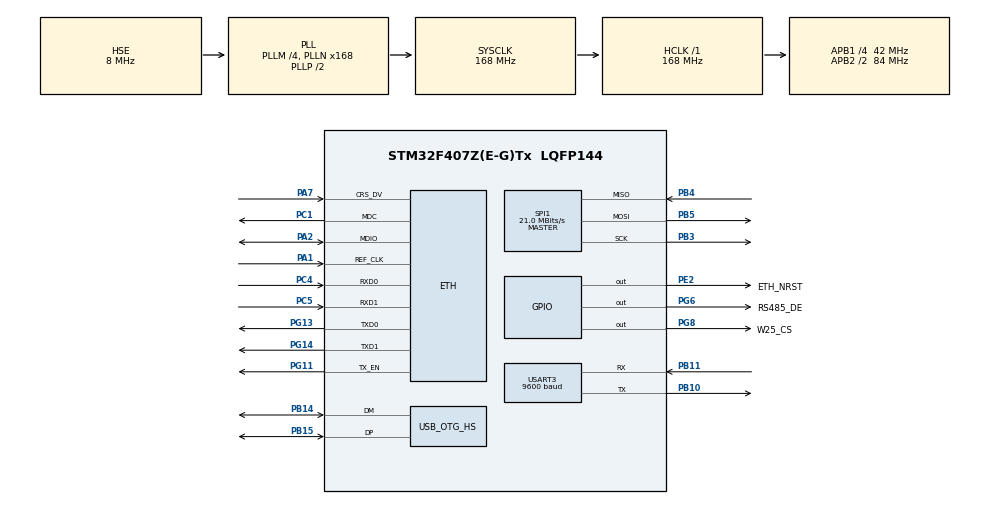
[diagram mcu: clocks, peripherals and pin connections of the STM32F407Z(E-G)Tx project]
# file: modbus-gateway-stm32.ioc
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Dma.Request0=USART3_TX
Dma.Request1=USART3_RX
Dma.Request2=SPI1_TX
Dma.Request3=SPI1_RX
Dma.SPI1_RX.3.Direction=DMA_PERIPH_TO_MEMORY
Dma.SPI1_RX.3.FIFOMode=DMA_FIFOMODE_DISABLE
Dma.SPI1_RX.3.Instance=DMA2_Stream0
Dma.SPI1_RX.3.MemDataAlignment=DMA_MDATAALIGN_BYTE
Dma.SPI1_RX.3.MemInc=DMA_MINC_ENABLE
Dma.SPI1_RX.3.Mode=DMA_NORMAL
Dma.SPI1_RX.3.PeriphDataAlignment=DMA_PDATAALIGN_BYTE
Dma.SPI1_RX.3.PeriphInc=DMA_PINC_DISABLE
Dma.SPI1_RX.3.Priority=DMA_PRIORITY_LOW
Dma.SPI1_TX.2.Direction=DMA_MEMORY_TO_PERIPH
Dma.SPI1_TX.2.FIFOMode=DMA_FIFOMODE_DISABLE
Dma.SPI1_TX.2.Instance=DMA2_Stream3
Dma.SPI1_TX.2.MemDataAlignment=DMA_MDATAALIGN_BYTE
Dma.SPI1_TX.2.MemInc=DMA_MINC_ENABLE
Dma.SPI1_TX.2.Mode=DMA_NORMAL
Dma.SPI1_TX.2.PeriphDataAlignment=DMA_PDATAALIGN_BYTE
Dma.SPI1_TX.2.PeriphInc=DMA_PINC_DISABLE
Dma.SPI1_TX.2.Priority=DMA_PRIORITY_LOW
Dma.USART3_RX.1.Direction=DMA_PERIPH_TO_MEMORY
Dma.USART3_RX.1.FIFOMode=DMA_FIFOMODE_DISABLE
Dma.USART3_RX.1.Instance=DMA1_Stream1
Dma.USART3_RX.1.MemDataAlignment=DMA_MDATAALIGN_BYTE
Dma.USART3_RX.1.MemInc=DMA_MINC_ENABLE
Dma.USART3_RX.1.Mode=DMA_NORMAL
Dma.USART3_RX.1.PeriphDataAlignment=DMA_PDATAALIGN_BYTE
Dma.USART3_RX.1.PeriphInc=DMA_PINC_DISABLE
Dma.USART3_RX.1.Priority=DMA_PRIORITY_LOW
Dma.USART3_TX.0.Direction=DMA_MEMORY_TO_PERIPH
Dma.USART3_TX.0.FIFOMode=DMA_FIFOMODE_DISABLE
Dma.USART3_TX.0.Instance=DMA1_Stream3
Dma.USART3_TX.0.MemDataAlignment=DMA_MDATAALIGN_BYTE
Dma.USART3_TX.0.MemInc=DMA_MINC_ENABLE
Dma.USART3_TX.0.Mode=DMA_NORMAL
Dma.USART3_TX.0.PeriphDataAlignment=DMA_PDATAALIGN_BYTE
Dma.USART3_TX.0.PeriphInc=DMA_PINC_DISABLE
Dma.USART3_TX.0.Priority=DMA_PRIORITY_LOW
ETH.MACAddr=02\:80\:E1\:00\:00\:00
ETH.MediaInterface=HAL_ETH_RMII_MODE
ETH.RxMode=ETH_RXINTERRUPT_MODE
FREERTOS.Tasks01=defaultTask,24,1024,StartDefaultTask,Default,NULL,Static,defaultTaskBuffer,defaultTaskControlBlock
FREERTOS.configRECORD_STACK_HIGH_ADDRESS=1
IWDG.Prescaler=IWDG_PRESCALER_256
IWDG.Reload=2499
LWIP.BSP.number=1
LWIP.DHCP_DEBUG=LWIP_DBG_OFF
LWIP.ETH_RX_BUFFER_CNT=8
LWIP.GATEWAY_ADDRESS=192.168.005.001
LWIP.IP_ADDRESS=192.168.005.123
LWIP.LWIP_ALTCP=1
LWIP.LWIP_ALTCP_TLS=1
LWIP.LWIP_DBG_MIN_LEVEL=LWIP_DBG_LEVEL_ALL
LWIP.LWIP_DBG_TYPES_ON=LWIP_DBG_ON
LWIP.LWIP_DHCP=1
LWIP.LWIP_DISABLE_MEMP_SANITY_CHECKS=0
LWIP.LWIP_DISABLE_TCP_SANITY_CHECKS=0
LWIP.LWIP_DNS=1
LWIP.LWIP_IPV6=0
LWIP.LWIP_SMTP=0
LWIP.LWIP_SNTP=1
LWIP.LWIP_STATS=0
LWIP.LWIP_TCP_KEEPALIVE=1
LWIP.MEMP_NUM_NETCONN=8
LWIP.MEMP_NUM_PBUF=30
LWIP.MEMP_NUM_SYS_TIMEOUT=10
LWIP.MEMP_NUM_TCP_PCB=8
LWIP.MEMP_NUM_TCP_SEG=40
LWIP.MEMP_NUM_UDP_PCB=6
LWIP.MEM_DEBUG=LWIP_DBG_ON
LWIP.MEM_SIZE=1024*40
LWIP.NETMASK_ADDRESS=255.255.255.000
LWIP.PBUF_POOL_BUFSIZE=1524
LWIP.SNTP_CHECK_RESPONSE=2
LWIP.SNTP_MAX_SERVERS=2
LWIP.TCPIP_MBOX_SIZE=16
LWIP.TCPIP_THREAD_STACKSIZE=3840
LWIP.TCP_DEBUG=LWIP_DBG_ON
LWIP.TCP_LISTEN_BACKLOG=1
LWIP.TCP_MSS=1460
LWIP.TCP_SND_BUF=14600
LWIP.TCP_SND_QUEUELEN=40
LWIP.TCP_WND=7300
LWIP.Version=v2.1.2_Cube
LWIP0.BSP.STBoard=false
LWIP0.BSP.api=BSP_COMPONENT_DRIVER
LWIP0.BSP.component=LAN8742
LWIP0.BSP.instance=LAN8742
LWIP0.BSP.name=Driver_PHY
LWIP0.BSP.semaphore=S_LAN8742
LWIP0.BSP.solution=LAN8742
MBEDTLS.MBEDTLS_CIPHER_MODE_OFB=0
MBEDTLS.MBEDTLS_CIPHER_MODE_XTS=0
MBEDTLS.MBEDTLS_ECP_DP_CURVE448_ENABLED=0
MBEDTLS.MBEDTLS_HAVE_TIME_DATE=1
MBEDTLS.MBEDTLS_KEY_EXCHANGE_ECDHE_RSA_ENABLED=1
MBEDTLS.MBEDTLS_MPI_MAX_SIZE=512
MBEDTLS.MBEDTLS_PKCS11_C=0
MBEDTLS.MBEDTLS_PKCS1_V15=1
MBEDTLS.MBEDTLS_PLATFORM_GMTIME_R_ALT=1
MBEDTLS.MBEDTLS_PLATFORM_MEMORY=1
MBEDTLS.MBEDTLS_PLATFORM_TIME_ALT=1
MBEDTLS.MBEDTLS_RSA_ALT=0
MBEDTLS.MBEDTLS_RSA_C=1
MBEDTLS.MBEDTLS_SHA1_ALT=0
MBEDTLS.MBEDTLS_SHA1_C=0
MBEDTLS.MBEDTLS_SSL_CIPHERSUITES=MBEDTLS_TLS_ECDHE_RSA_WITH_AES_256_GCM_SHA384,MBEDTLS_TLS_ECDHE_RSA_WITH_AES_128_GCM_SHA256,MBEDTLS_TLS_ECDHE_ECDSA_WITH_AES_256_GCM_SHA384,MBEDTLS_TLS_ECDHE_ECDSA_WITH_AES_128_GCM_SHA256
MBEDTLS.MBEDTLS_SSL_IN_CONTENT_LEN=6144
MBEDTLS.MBEDTLS_SSL_IN_CONTENT_LEN_ENABLE=0
MBEDTLS.MBEDTLS_SSL_MAX_CONTENT_LEN_ENABLE=0
MBEDTLS.MBEDTLS_SSL_OUT_CONTENT_LEN=2048
MBEDTLS.MBEDTLS_SSL_OUT_CONTENT_LEN_ENABLE=0
MBEDTLS.MBEDTLS_SSL_SERVER_NAME_INDICATION=1
MBEDTLS.MBEDTLS_SSL_SRV_C=1
MBEDTLS.MBEDTLS_SSL_SRV_RESPECT_CLIENT_PREFERENCE=1
MBEDTLS.MBEDTLS_TLS_DEFAULT_ALLOW_SHA1_IN_CERTIFICATES=0
MBEDTLS.MBEDTLS_TLS_DEFAULT_ALLOW_SHA1_IN_KEY_EXCHANGE=0
MBEDTLS.MBEDTLS_X509_CHECK_EXTENDED_KEY_USAGE=1
MBEDTLS.MBEDTLS_X509_CHECK_KEY_USAGE=1
Mcu.Family=STM32F4
Mcu.Name=STM32F407Z(E-G)Tx
Mcu.Package=LQFP144
NVIC.DMA1_Stream1_IRQn=true\:5\:0\:false\:false\:true\:true\:false\:true\:true
NVIC.DMA1_Stream3_IRQn=true\:5\:0\:false\:false\:true\:true\:false\:true\:true
NVIC.DMA2_Stream0_IRQn=true\:5\:0\:false\:false\:true\:true\:false\:true\:true
NVIC.DMA2_Stream3_IRQn=true\:5\:0\:false\:false\:true\:true\:false\:true\:true
NVIC.ETH_IRQn=true\:5\:0\:false\:false\:true\:true\:false\:true\:true
NVIC.OTG_HS_IRQn=true\:5\:0\:false\:false\:true\:true\:false\:true\:true
NVIC.PriorityGroup=NVIC_PRIORITYGROUP_4
NVIC.SPI1_IRQn=true\:5\:0\:false\:false\:true\:true\:true\:true\:true
NVIC.TIM6_DAC_IRQn=true\:15\:0\:false\:false\:true\:false\:false\:true\:true
NVIC.TIM7_IRQn=true\:5\:0\:false\:false\:true\:true\:true\:true\:true
NVIC.TimeBase=TIM6_DAC_IRQn
NVIC.TimeBaseIP=TIM6
NVIC.USART3_IRQn=true\:5\:0\:false\:false\:true\:true\:true\:true\:true
PA1.Mode=RMII
PA1.Signal=ETH_REF_CLK
PA2.Mode=RMII
PA2.Signal=ETH_MDIO
PA7.Mode=RMII
PA7.Signal=ETH_CRS_DV
PB10.Mode=Asynchronous
PB10.Signal=USART3_TX
PB11.GPIO_PuPd=GPIO_PULLUP
PB11.Mode=Asynchronous
PB11.Signal=USART3_RX
PB14.Mode=Device_Only_FS
PB14.Signal=USB_OTG_HS_DM
PB15.Mode=Device_Only_FS
PB15.Signal=USB_OTG_HS_DP
PB3.Mode=Full_Duplex_Master
PB3.Signal=SPI1_SCK
PB4.Mode=Full_Duplex_Master
PB4.Signal=SPI1_MISO
PB5.Mode=Full_Duplex_Master
PB5.Signal=SPI1_MOSI
PC1.Mode=RMII
PC1.Signal=ETH_MDC
PC14-OSC32_IN.Mode=LSE-External-Oscillator
PC14-OSC32_IN.Signal=RCC_OSC32_IN
PC15-OSC32_OUT.Mode=LSE-External-Oscillator
PC15-OSC32_OUT.Signal=RCC_OSC32_OUT
PC4.Mode=RMII
PC4.Signal=ETH_RXD0
PC5.Mode=RMII
PC5.Signal=ETH_RXD1
PE2.GPIO_Label=ETH_NRST
PE2.GPIO_Speed=GPIO_SPEED_FREQ_VERY_HIGH
PE2.PinState=GPIO_PIN_RESET
PE2.Signal=GPIO_Output
PG11.Mode=RMII
PG11.Signal=ETH_TX_EN
PG13.Mode=RMII
PG13.Signal=ETH_TXD0
PG14.Mode=RMII
PG14.Signal=ETH_TXD1
PG6.GPIO_Label=RS485_DE
PG6.Signal=GPIO_Output
PG8.GPIO_Label=W25_CS
PG8.GPIO_Speed=GPIO_SPEED_FREQ_HIGH
PG8.PinState=GPIO_PIN_SET
PG8.Signal=GPIO_Output
PH0-OSC_IN.Mode=HSE-External-Oscillator
PH0-OSC_IN.Signal=RCC_OSC_IN
PH1-OSC_OUT.Mode=HSE-External-Oscillator
PH1-OSC_OUT.Signal=RCC_OSC_OUT
ProjectManager.HeapSize=0x200
ProjectManager.StackSize=0x400
ProjectManager.TargetToolchain=MDK-ARM V5.32
RCC.48MHZClocksFreq_Value=48000000
RCC.AHBFreq_Value=168000000
RCC.APB1CLKDivider=RCC_HCLK_DIV4
RCC.APB1Freq_Value=42000000
RCC.APB1TimFreq_Value=84000000
RCC.APB2CLKDivider=RCC_HCLK_DIV2
RCC.APB2Freq_Value=84000000
RCC.APB2TimFreq_Value=168000000
RCC.CortexFreq_Value=168000000
RCC.HCLKFreq_Value=168000000
RCC.HSE_VALUE=8000000
RCC.HSI_VALUE=16000000
RCC.PLLM=4
RCC.PLLN=168
RCC.PLLQ=7
RCC.RCC_RTC_Clock_Source=RCC_RTCCLKSOURCE_LSE
RCC.RCC_RTC_Clock_SourceVirtual=RCC_RTCCLKSOURCE_LSE
RCC.SYSCLKFreq_VALUE=168000000
RCC.SYSCLKSource=RCC_SYSCLKSOURCE_PLLCLK
RCC.VCOOutputFreq_Value=336000000
SPI1.BaudRatePrescaler=SPI_BAUDRATEPRESCALER_4
SPI1.CalculateBaudRate=21.0 MBits/s
SPI1.Direction=SPI_DIRECTION_2LINES
SPI1.Mode=SPI_MODE_MASTER
SPI1.VirtualType=VM_MASTER
TIM7.Period=4000 - 1
TIM7.Prescaler=84 - 1
USART3.BaudRate=9600
USART3.VirtualMode=VM_ASYNC
USB_DEVICE.CLASS_NAME_HS=CDC
USB_DEVICE.CONFIGURATION_STRING_CDC_HS=Management CDC Configuration
USB_DEVICE.INTERFACE_STRING_CDC_HS=Management CDC Interface
USB_DEVICE.MANUFACTURER_STRING-CDC_HS=Tianfang
USB_DEVICE.PRODUCT_STRING_CDC_HS=Modbus Gateway Management Port
USB_DEVICE.VirtualMode-CDC_HS=Cdc
USB_DEVICE.VirtualModeHS=Cdc_HS
USB_OTG_HS.VirtualMode-Device_Only_FS=Device_Only_FS
VP_FREERTOS_VS_CMSIS_V2.Mode=CMSIS_V2
VP_IWDG_VS_IWDG.Mode=IWDG_Activate
VP_LWIP_VS_Enabled.Mode=Enabled
VP_MBEDTLS_VS_MBEDTLS.Mode=Enabled
VP_RNG_VS_RNG.Mode=RNG_Activate
VP_RTC_VS_RTC_Activate.Mode=RTC_Enabled
VP_SYS_VS_tim6.Mode=TIM6
VP_TIM7_VS_ClockSourceINT.Mode=Enable_Timer
VP_TIM7_VS_OPM.Mode=OPM_bit
VP_USB_DEVICE_VS_USB_DEVICE_CDC_HS.Mode=CDC_HS
board=custom

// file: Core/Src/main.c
/* USER CODE BEGIN Header */
/**
  ******************************************************************************
  * @file           : main.c
  * @brief          : Main program body
  ******************************************************************************
  * @attention
  *
  * Copyright (c) 2026 STMicroelectronics.
  * All rights reserved.
  *
  * This software is licensed under terms that can be found in the LICENSE file
  * in the root directory of this software component.
  * If no LICENSE file comes with this software, it is provided AS-IS.
  *
  ******************************************************************************
  */
/* USER CODE END Header */
#include "main.h"
#include "cmsis_os.h"
#include "dma.h"
#include "iwdg.h"
#include "mbedtls.h"
#include "rng.h"
#include "rtc.h"
#include "spi.h"
#include "tim.h"
#include "usart.h"
#include "usb_device.h"
#include "gpio.h"

/* USER CODE BEGIN Includes */
#include "debug_log.h"
#include "SEGGER_SYSVIEW.h"
/* USER CODE END Includes */

void SystemClock_Config(void);
void MX_FREERTOS_Init(void);

int main(void)
{

  /* MCU Configuration--------------------------------------------------------*/

  /* Reset of all peripherals, Initializes the Flash interface and the Systick. */
  HAL_Init();

  /* Configure the system clock */
  SystemClock_Config();

  /* USER CODE BEGIN SysInit */
  debug_log_init();
  debug_log_printf("\r\n[boot] reset complete, RTT initialized\r\n");
  CoreDebug->DEMCR |= CoreDebug_DEMCR_TRCENA_Msk;
DWT->CYCCNT = 0U;
DWT->CTRL |= DWT_CTRL_CYCCNTENA_Msk;

  SEGGER_SYSVIEW_Conf();
  /* USER CODE END SysInit */

  /* Initialize all configured peripherals */
  MX_GPIO_Init();
  MX_DMA_Init();
  MX_USART3_UART_Init();
  MX_TIM7_Init();
  MX_RTC_Init();
  MX_RNG_Init();
  MX_SPI1_Init();
  MX_IWDG_Init();
  /* Call PreOsInit function */
  MX_MBEDTLS_Init();
  /* USER CODE BEGIN 2 */
  debug_log_printf("[boot] peripherals initialized\r\n");
  HAL_GPIO_WritePin(ETH_NRST_GPIO_Port, ETH_NRST_Pin, GPIO_PIN_RESET);
  HAL_Delay(100);
  HAL_GPIO_WritePin(ETH_NRST_GPIO_Port, ETH_NRST_Pin, GPIO_PIN_SET);
  HAL_Delay(100);
  /* USER CODE END 2 */

  /* Init scheduler */
  osKernelInitialize();  /* Call init function for freertos objects (in cmsis_os2.c) */
  MX_FREERTOS_Init();

  /* Start scheduler */
  osKernelStart();

  /* We should never get here as control is now taken by the scheduler */

  /* Infinite loop */
  while (1)
  {

  }
}

void SystemClock_Config(void)
{
  RCC_OscInitTypeDef RCC_OscInitStruct = {0};
  RCC_ClkInitTypeDef RCC_ClkInitStruct = {0};

  /** Configure the main internal regulator output voltage
  */
  __HAL_RCC_PWR_CLK_ENABLE();
  __HAL_PWR_VOLTAGESCALING_CONFIG(PWR_REGULATOR_VOLTAGE_SCALE1);

  /** Initializes the RCC Oscillators according to the specified parameters
  * in the RCC_OscInitTypeDef structure.
  */
  RCC_OscInitStruct.OscillatorType = RCC_OSCILLATORTYPE_LSI|RCC_OSCILLATORTYPE_HSE
                              |RCC_OSCILLATORTYPE_LSE;
  RCC_OscInitStruct.HSEState = RCC_HSE_ON;
  RCC_OscInitStruct.LSEState = RCC_LSE_ON;
  RCC_OscInitStruct.LSIState = RCC_LSI_ON;
  RCC_OscInitStruct.PLL.PLLState = RCC_PLL_ON;
  RCC_OscInitStruct.PLL.PLLSource = RCC_PLLSOURCE_HSE;
  RCC_OscInitStruct.PLL.PLLM = 4;
  RCC_OscInitStruct.PLL.PLLN = 168;
  RCC_OscInitStruct.PLL.PLLP = RCC_PLLP_DIV2;
  RCC_OscInitStruct.PLL.PLLQ = 7;
  if (HAL_RCC_OscConfig(&RCC_OscInitStruct) != HAL_OK)
  {
    Error_Handler();
  }

  /** Initializes the CPU, AHB and APB buses clocks
  */
  RCC_ClkInitStruct.ClockType = RCC_CLOCKTYPE_HCLK|RCC_CLOCKTYPE_SYSCLK
                              |RCC_CLOCKTYPE_PCLK1|RCC_CLOCKTYPE_PCLK2;
  RCC_ClkInitStruct.SYSCLKSource = RCC_SYSCLKSOURCE_PLLCLK;
  RCC_ClkInitStruct.AHBCLKDivider = RCC_SYSCLK_DIV1;
  RCC_ClkInitStruct.APB1CLKDivider = RCC_HCLK_DIV4;
  RCC_ClkInitStruct.APB2CLKDivider = RCC_HCLK_DIV2;

  if (HAL_RCC_ClockConfig(&RCC_ClkInitStruct, FLASH_LATENCY_5) != HAL_OK)
  {
    Error_Handler();
  }
}

void HAL_TIM_PeriodElapsedCallback(TIM_HandleTypeDef *htim)
{
  if (htim->Instance == TIM6)
  {
    HAL_IncTick();
  }
}

void Error_Handler(void)
{
  /* USER CODE BEGIN Error_Handler_Debug */
  /* User can add his own implementation to report the HAL error return state */
  debug_log_printf("[fatal] Error_Handler\r\n");
  __disable_irq();
  while (1)
  {
  }
  /* USER CODE END Error_Handler_Debug */
}

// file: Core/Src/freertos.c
/* USER CODE BEGIN Header */
/**
  ******************************************************************************
  * File Name          : freertos.c
  * Description        : Code for freertos applications
  ******************************************************************************
  * @attention
  *
  * Copyright (c) 2026 STMicroelectronics.
  * All rights reserved.
  *
  * This software is licensed under terms that can be found in the LICENSE file
  * in the root directory of this software component.
  * If no LICENSE file comes with this software, it is provided AS-IS.
  *
  ******************************************************************************
  */
/* USER CODE END Header */

#include "FreeRTOS.h"
#include "task.h"
#include "main.h"
#include "cmsis_os.h"

/* USER CODE BEGIN Includes */
#include <stdio.h>

#include "altcp_tls_mbedtls_mem.h"
#include "debug_log.h"
#include "configuration_service.h"
#include "external_flash.h"
#include "lwip/apps/lwiperf.h"
#include "lwip/dhcp.h"
#include "lwip/dns.h"
#include "lwip/ip_addr.h"
#include "lwip/netif.h"
#include "lwip/tcpip.h"
#include "lwip_random.h"
#include "mbedtls/entropy.h"
#include "mbedtls/entropy_poll.h"
#include "management_transport.h"
#include "modbus_gateway_app.h"
#include "mqtt_publisher.h"
#include "sntp_service.h"
#include "watchdog.h"
/* USER CODE END Includes */

typedef StaticTask_t osStaticThreadDef_t;

/* USER CODE BEGIN Variables */

static management_transport_result_t management_initialization_result = MANAGEMENT_TRANSPORT_NOT_INITIALIZED;
static volatile bool management_configuration_ready;

/* USER CODE END Variables */
/* Definitions for defaultTask */
osThreadId_t defaultTaskHandle;
uint32_t defaultTaskBuffer[ 1024 ];
osStaticThreadDef_t defaultTaskControlBlock;
const osThreadAttr_t defaultTask_attributes = {
  .name = "defaultTask",
  .cb_mem = &defaultTaskControlBlock,
  .cb_size = sizeof(defaultTaskControlBlock),
  .stack_mem = &defaultTaskBuffer[0],
  .stack_size = sizeof(defaultTaskBuffer),
  .priority = (osPriority_t) osPriorityNormal,
};

/* USER CODE BEGIN FunctionPrototypes */
void lwip_echo_server(uint16_t port);

/* USER CODE END FunctionPrototypes */

void StartDefaultTask(void *argument);

extern void MX_LWIP_Init(void);
extern void MX_USB_DEVICE_Init(void);
void MX_FREERTOS_Init(void); /* (MISRA C 2004 rule 8.1) */

void MX_FREERTOS_Init(void) {
  /* USER CODE BEGIN Init */

  watchdog_init();
  management_initialization_result = management_transport_init();

  /* USER CODE END Init */

  /* Create the thread(s) */
  /* creation of defaultTask */
  defaultTaskHandle = osThreadNew(StartDefaultTask, NULL, &defaultTask_attributes);

}

void StartDefaultTask(void *argument)
{
  /* init code for USB_DEVICE */
  MX_USB_DEVICE_Init();
  /* USER CODE BEGIN StartDefaultTask */

  external_flash_result_t flash_result = external_flash_init();
  if (flash_result == EXTERNAL_FLASH_RESULT_OK)
  {
    debug_log_printf("[boot] external flash ready\r\n");
  }
  else
  {
    debug_log_printf("[flash-test] FAIL: initialization, result=%d\r\n", (int)flash_result);
    debug_log_printf("[boot] external flash initialization failedp\r\n");
    while(1);
  }

  lwip_random_initialize();
  /* 先初始化lwip堆，才能校验configuration的证书 */
  MX_LWIP_Init();
  altcp_mbedtls_mem_init();

  configuration_service_result_t configuration_result = configuration_service_init();

  if (configuration_result == CONFIGURATION_SERVICE_OK)
  {
    management_configuration_ready = true;
    debug_log_printf("[boot] Configuration Service ready\r\n");
  }
  else
  {
     debug_log_printf("[boot] Configuration Service initialization failed, result=%d\r\n",
                       (int)configuration_result);
     while(1);
  }

  const configuration_network_t *network_configuration = &configuration_service_active()->network;

  if (network_configuration->mode == CONFIGURATION_NETWORK_MODE_STATIC)
  {
    ip_addr_t dns_primary;
    ip_addr_t dns_secondary;

    ip_addr_copy_from_ip4(dns_primary, network_configuration->dns_primary);
    ip_addr_copy_from_ip4(dns_secondary, network_configuration->dns_secondary);

    LOCK_TCPIP_CORE();
    dhcp_release_and_stop(netif_default);
    netif_set_addr(netif_default, &network_configuration->ip_address,
                   &network_configuration->subnet_mask, &network_configuration->gateway);
    dns_setserver(0U, &dns_primary);
    dns_setserver(1U, &dns_secondary);
    UNLOCK_TCPIP_CORE();
  }

  debug_log_printf("[boot] default task started\r\n");
  if (management_initialization_result == MANAGEMENT_TRANSPORT_OK)
  {
    debug_log_printf("[boot] Management task ready\r\n");
  }
  else
  {
    debug_log_printf("[boot] Management task initialization failed, result=%d\r\n",
                     (int)management_initialization_result);
  }
  debug_log_printf("[boot] initializing external flash\r\n");

  /* The altcp TLS path does not call mbedtls_net_init(), so initialize LwIP explicitly. */
  debug_log_printf("[boot] initializing LwIP\r\n");

  debug_log_printf("[boot] LwIP ready\r\n");
  /* Configuration validation can use mbedTLS before MQTT creates its first ALTCP TLS configuration. */

  sntp_service_init();
  debug_log_printf("[boot] SNTP service ready\r\n");

  mqtt_publisher_init();

  modbus_gateway_app_init();
  debug_log_printf("[boot] Modbus gateway ready\r\n");

  while (1)
  {

    vTaskDelay(pdMS_TO_TICKS(1000U));
  }

  /* USER CODE END StartDefaultTask */
}

/* USER CODE BEGIN Application */

bool management_transport_configuration_is_ready(void)
{
  return management_configuration_ready;
}

/* USER CODE END Application */
